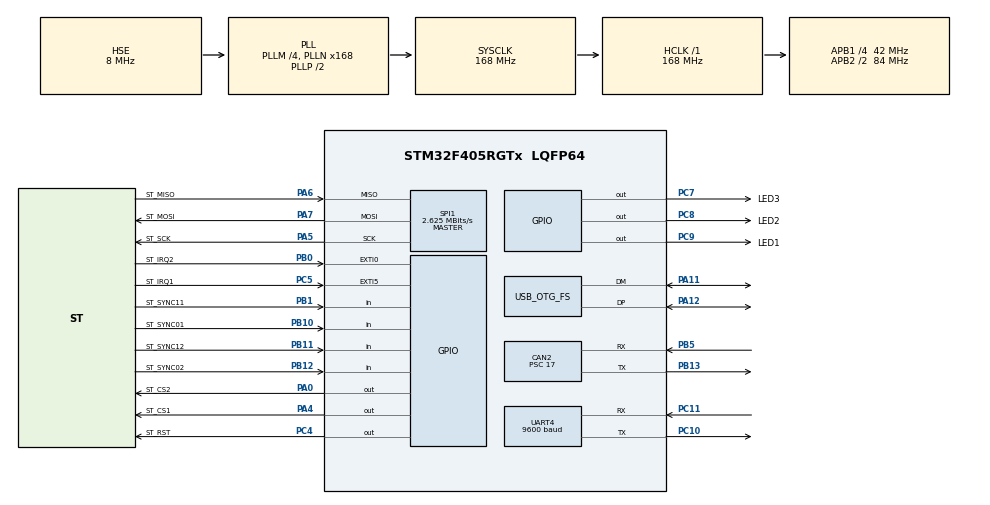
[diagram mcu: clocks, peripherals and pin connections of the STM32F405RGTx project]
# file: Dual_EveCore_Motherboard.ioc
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CAN2.ABOM=ENABLE
CAN2.AWUM=ENABLE
CAN2.BS1=CAN_BS1_5TQ
CAN2.BS2=CAN_BS2_4TQ
CAN2.CalculateBaudRate=247058
CAN2.CalculateTimeBit=4047
CAN2.CalculateTimeQuantum=404.76190476190476
CAN2.Mode=CAN_MODE_SILENT_LOOPBACK
CAN2.NART=ENABLE
CAN2.Prescaler=17
CAN2.SJW=CAN_SJW_2TQ
Mcu.Family=STM32F4
Mcu.Name=STM32F405RGTx
Mcu.Package=LQFP64
NVIC.CAN2_RX0_IRQn=true\:0\:0\:false\:false\:true\:true\:true\:true
NVIC.CAN2_RX1_IRQn=true\:0\:0\:false\:false\:true\:true\:true\:true
NVIC.CAN2_SCE_IRQn=true\:0\:0\:false\:false\:true\:true\:true\:true
NVIC.CAN2_TX_IRQn=true\:0\:0\:false\:false\:true\:true\:true\:true
NVIC.EXTI0_IRQn=true\:0\:0\:false\:false\:true\:true\:true\:true
NVIC.EXTI9_5_IRQn=true\:0\:0\:false\:false\:true\:true\:true\:true
NVIC.FLASH_IRQn=true\:0\:0\:false\:false\:true\:true\:true\:true
NVIC.FPU_IRQn=true\:0\:0\:false\:false\:true\:true\:false\:true
NVIC.OTG_FS_IRQn=true\:0\:0\:false\:false\:true\:false\:true\:true
NVIC.PVD_IRQn=true\:0\:0\:false\:false\:true\:true\:true\:true
NVIC.PriorityGroup=NVIC_PRIORITYGROUP_4
NVIC.RCC_IRQn=true\:0\:0\:false\:false\:true\:true\:false\:true
NVIC.SPI1_IRQn=true\:0\:0\:false\:false\:true\:true\:true\:true
NVIC.TIM2_IRQn=true\:0\:0\:false\:false\:true\:true\:true\:true
NVIC.UART4_IRQn=true\:0\:0\:false\:false\:true\:true\:true\:true
PA0-WKUP.GPIO_Label=ST_CS2
PA0-WKUP.GPIO_Speed=GPIO_SPEED_FREQ_VERY_HIGH
PA0-WKUP.PinState=GPIO_PIN_SET
PA0-WKUP.Signal=GPIO_Output
PA11.Mode=Device_Only
PA11.Signal=USB_OTG_FS_DM
PA12.Mode=Device_Only
PA12.Signal=USB_OTG_FS_DP
PA13.Mode=Serial_Wire
PA13.Signal=SYS_JTMS-SWDIO
PA14.Mode=Serial_Wire
PA14.Signal=SYS_JTCK-SWCLK
PA4.GPIO_Label=ST_CS1
PA4.GPIO_Speed=GPIO_SPEED_FREQ_VERY_HIGH
PA4.PinState=GPIO_PIN_SET
PA4.Signal=GPIO_Output
PA5.GPIO_Label=ST_SCK
PA5.Mode=Full_Duplex_Master
PA5.Signal=SPI1_SCK
PA6.GPIO_Label=ST_MISO
PA6.Mode=Full_Duplex_Master
PA6.Signal=SPI1_MISO
PA7.GPIO_Label=ST_MOSI
PA7.Mode=Full_Duplex_Master
PA7.Signal=SPI1_MOSI
PB0.GPIO_Label=ST_IRQ2
PB0.GPIO_ModeDefaultEXTI=GPIO_MODE_IT_RISING_FALLING
PB0.Signal=GPXTI0
PB1.GPIO_Label=ST_SYNC11
PB1.Signal=GPIO_Input
PB10.GPIO_Label=ST_SYNC01
PB10.Signal=GPIO_Input
PB11.GPIO_Label=ST_SYNC12
PB11.Signal=GPIO_Input
PB12.GPIO_Label=ST_SYNC02
PB12.Signal=GPIO_Input
PB13.Mode=CAN_Activate
PB13.Signal=CAN2_TX
PB3.Signal=SYS_JTDO-SWO
PB5.GPIO_PuPd=GPIO_NOPULL
PB5.Mode=CAN_Activate
PB5.Signal=CAN2_RX
PC10.Mode=Asynchronous
PC10.Signal=UART4_TX
PC11.GPIO_PuPd=GPIO_PULLUP
PC11.GPIO_Speed=GPIO_SPEED_FREQ_VERY_HIGH
PC11.Mode=Asynchronous
PC11.Signal=UART4_RX
PC14-OSC32_IN.Mode=LSE-External-Oscillator
PC14-OSC32_IN.Signal=RCC_OSC32_IN
PC15-OSC32_OUT.Mode=LSE-External-Oscillator
PC15-OSC32_OUT.Signal=RCC_OSC32_OUT
PC4.GPIO_Label=ST_RST
PC4.GPIO_Speed=GPIO_SPEED_FREQ_MEDIUM
PC4.PinState=GPIO_PIN_SET
PC4.Signal=GPIO_Output
PC5.GPIO_Label=ST_IRQ1
PC5.GPIO_ModeDefaultEXTI=GPIO_MODE_IT_RISING_FALLING
PC5.Signal=GPXTI5
PC7.GPIO_Label=LED3
PC7.Signal=GPIO_Output
PC8.GPIO_Label=LED2
PC8.Signal=GPIO_Output
PC9.GPIO_Label=LED1
PC9.Signal=GPIO_Output
PH0-OSC_IN.Mode=HSE-External-Oscillator
PH0-OSC_IN.Signal=RCC_OSC_IN
PH1-OSC_OUT.Mode=HSE-External-Oscillator
PH1-OSC_OUT.Signal=RCC_OSC_OUT
ProjectManager.HeapSize=0x200
ProjectManager.StackSize=0x400
ProjectManager.TargetToolchain=STM32CubeIDE
RCC.48MHZClocksFreq_Value=48000000
RCC.AHBFreq_Value=168000000
RCC.APB1CLKDivider=RCC_HCLK_DIV4
RCC.APB1Freq_Value=42000000
RCC.APB1TimFreq_Value=84000000
RCC.APB2CLKDivider=RCC_HCLK_DIV2
RCC.APB2Freq_Value=84000000
RCC.APB2TimFreq_Value=168000000
RCC.CortexFreq_Value=168000000
RCC.HCLKFreq_Value=168000000
RCC.HSE_VALUE=8000000
RCC.HSI_VALUE=16000000
RCC.PLLM=4
RCC.PLLN=168
RCC.PLLQ=7
RCC.SYSCLKFreq_VALUE=168000000
RCC.SYSCLKSource=RCC_SYSCLKSOURCE_PLLCLK
RCC.VCOOutputFreq_Value=336000000
SPI1.BaudRatePrescaler=SPI_BAUDRATEPRESCALER_32
SPI1.CLKPolarity=SPI_POLARITY_HIGH
SPI1.CalculateBaudRate=2.625 MBits/s
SPI1.DataSize=SPI_DATASIZE_16BIT
SPI1.Direction=SPI_DIRECTION_2LINES
SPI1.Mode=SPI_MODE_MASTER
SPI1.VirtualType=VM_MASTER
TIM2.AutoReloadPreload=TIM_AUTORELOAD_PRELOAD_ENABLE
TIM2.Channel-Output\ Compare1\ No\ Output=TIM_CHANNEL_1
TIM2.Period=10
TIM2.Prescaler=10000
UART4.BaudRate=9600
UART4.Parity=PARITY_EVEN
UART4.VirtualMode=Asynchronous
UART4.WordLength=WORDLENGTH_9B
USB_DEVICE.CLASS_NAME_FS=CDC
USB_DEVICE.VirtualMode-CDC_FS=Cdc
USB_DEVICE.VirtualModeFS=Cdc_FS
USB_OTG_FS.Sof_enable=ENABLE
USB_OTG_FS.VirtualMode=Device_Only
VP_TIM2_VS_ClockSourceINT.Mode=Internal
VP_TIM2_VS_no_output1.Mode=Output Compare1 No Output
VP_USB_DEVICE_VS_USB_DEVICE_CDC_FS.Mode=CDC_FS
board=custom

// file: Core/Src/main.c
/* USER CODE BEGIN Header */
/**
  ******************************************************************************
  * @file           : main.c
  * @brief          : Main program body
  ******************************************************************************
  * @attention
  *
  * Copyright (c) 2025 STMicroelectronics.
  * All rights reserved.
  *
  * This software is licensed under terms that can be found in the LICENSE file
  * in the root directory of this software component.
  * If no LICENSE file comes with this software, it is provided AS-IS.
  *
  ******************************************************************************
  */
/* USER CODE END Header */
#include "main.h"
#include "usb_device.h"

CAN_HandleTypeDef hcan2;

SPI_HandleTypeDef hspi1;

TIM_HandleTypeDef htim2;

UART_HandleTypeDef huart4;

void SystemClock_Config(void);
static void MX_GPIO_Init(void);
static void MX_SPI1_Init(void);
static void MX_UART4_Init(void);
static void MX_TIM2_Init(void);
static void MX_CAN2_Init(void);

/* USER CODE BEGIN 0 */

CAN_TxHeaderTypeDef   TxHeader;
CAN_RxHeaderTypeDef   RxHeader;
uint8_t               TxData[8];
uint8_t               RxData[8];
uint32_t              TxMailbox;

uint8_t rx_buff[30];
uint8_t  firmwareMainMsg[40] = "STM32-EvCore Firmware Test4 :\n";
uint8_t tx_buff[30] = "RS232 Loop Back Test OK !\n";

uint16_t SPI_TX_Buffer[3] = {1234,5678,9012};
uint16_t SPI_RX_Buffer[4] = {0};

int newData = 0;

int timer = 0;
int timer1 = 10;
int timer2 = 20;
int timer3 = 30;
int timer4 = 40;

/* USER CODE END 0 */

int main(void)
{

  /* MCU Configuration--------------------------------------------------------*/

  /* Reset of all peripherals, Initializes the Flash interface and the Systick. */
  HAL_Init();

  /* Configure the system clock */
  SystemClock_Config();

  /* Initialize all configured peripherals */
  MX_GPIO_Init();
  MX_SPI1_Init();
  MX_USB_DEVICE_Init();
  MX_UART4_Init();
  MX_TIM2_Init();
  MX_CAN2_Init();
  /* USER CODE BEGIN 2 */

  TxData[0] = 50;
  TxData[1] = 0xAA;

  HAL_TIM_OC_Start_IT(&htim2,TIM_CHANNEL_1);

  TxHeader.IDE = CAN_ID_STD;
  TxHeader.StdId = 0x10;
  TxHeader.RTR = CAN_RTR_DATA;
  TxHeader.DLC = 2;

  /* USER CODE END 2 */

  /* Infinite loop */
  /* USER CODE BEGIN WHILE */

  while (1)
  {

   	if(timer1 >= 1000){

   		timer1 = 0;
   		HAL_GPIO_TogglePin(LED1_GPIO_Port,LED1_Pin); //Toggle LED
   		HAL_UART_Transmit_IT(&huart4, tx_buff, 28);
   	    HAL_UART_Receive_IT(&huart4, rx_buff, 1);

   	}

   	if(timer2 >= 1200){

   		timer2 = 0;

   		HAL_SPI_TransmitReceive_IT(&hspi1, SPI_TX_Buffer, SPI_RX_Buffer, 3); //Sending in Interrupt mode
   	}

   	if(timer3 >= 1400){

   		timer3 = 0;

   	   /* Start the Transmission process */
   	   if (HAL_CAN_AddTxMessage(&hcan2, &TxHeader, TxData, &TxMailbox) != HAL_OK)
   	    {
   	    	/* Transmission request Error */
   	          Error_Handler();
   	    }

   	}

   	if(timer4 >= 1600){

   		timer4 = 0;

   		CDC_Transmit_FS(firmwareMainMsg,34);
   	}

  }
    /* USER CODE END WHILE */

}

void SystemClock_Config(void)
{
  RCC_OscInitTypeDef RCC_OscInitStruct = {0};
  RCC_ClkInitTypeDef RCC_ClkInitStruct = {0};

  /** Configure the main internal regulator output voltage
  */
  __HAL_RCC_PWR_CLK_ENABLE();
  __HAL_PWR_VOLTAGESCALING_CONFIG(PWR_REGULATOR_VOLTAGE_SCALE1);

  /** Initializes the RCC Oscillators according to the specified parameters
  * in the RCC_OscInitTypeDef structure.
  */
  RCC_OscInitStruct.OscillatorType = RCC_OSCILLATORTYPE_HSE;
  RCC_OscInitStruct.HSEState = RCC_HSE_ON;
  RCC_OscInitStruct.PLL.PLLState = RCC_PLL_ON;
  RCC_OscInitStruct.PLL.PLLSource = RCC_PLLSOURCE_HSE;
  RCC_OscInitStruct.PLL.PLLM = 4;
  RCC_OscInitStruct.PLL.PLLN = 168;
  RCC_OscInitStruct.PLL.PLLP = RCC_PLLP_DIV2;
  RCC_OscInitStruct.PLL.PLLQ = 7;
  if (HAL_RCC_OscConfig(&RCC_OscInitStruct) != HAL_OK)
  {
    Error_Handler();
  }

  /** Initializes the CPU, AHB and APB buses clocks
  */
  RCC_ClkInitStruct.ClockType = RCC_CLOCKTYPE_HCLK|RCC_CLOCKTYPE_SYSCLK
                              |RCC_CLOCKTYPE_PCLK1|RCC_CLOCKTYPE_PCLK2;
  RCC_ClkInitStruct.SYSCLKSource = RCC_SYSCLKSOURCE_PLLCLK;
  RCC_ClkInitStruct.AHBCLKDivider = RCC_SYSCLK_DIV1;
  RCC_ClkInitStruct.APB1CLKDivider = RCC_HCLK_DIV4;
  RCC_ClkInitStruct.APB2CLKDivider = RCC_HCLK_DIV2;

  if (HAL_RCC_ClockConfig(&RCC_ClkInitStruct, FLASH_LATENCY_5) != HAL_OK)
  {
    Error_Handler();
  }
}

static void MX_CAN2_Init(void)
{

  /* USER CODE BEGIN CAN2_Init 1 */

  CAN_FilterTypeDef  sFilterConfig;

  /* USER CODE END CAN2_Init 1 */
  hcan2.Instance = CAN2;
  hcan2.Init.Prescaler = 17;
  hcan2.Init.Mode = CAN_MODE_SILENT_LOOPBACK;
  hcan2.Init.SyncJumpWidth = CAN_SJW_2TQ;
  hcan2.Init.TimeSeg1 = CAN_BS1_5TQ;
  hcan2.Init.TimeSeg2 = CAN_BS2_4TQ;
  hcan2.Init.TimeTriggeredMode = DISABLE;
  hcan2.Init.AutoBusOff = ENABLE;
  hcan2.Init.AutoWakeUp = ENABLE;
  hcan2.Init.AutoRetransmission = ENABLE;
  hcan2.Init.ReceiveFifoLocked = DISABLE;
  hcan2.Init.TransmitFifoPriority = DISABLE;

  if (HAL_CAN_Init(&hcan2) != HAL_OK)
  {
    Error_Handler();
  }
  /* USER CODE BEGIN CAN2_Init 2 */

  /*##-3- Start the CAN peripheral ###########################################*/
 if (HAL_CAN_Start(&hcan2) != HAL_OK)
 {
    /* Start Error */
    Error_Handler();
 }

  /*##-4- Activate CAN RX notification #######################################*/
 if (HAL_CAN_ActivateNotification(&hcan2, CAN_IT_RX_FIFO0_MSG_PENDING) != HAL_OK)
 {
    /* Notification Error */
   Error_Handler();
 }

  /* USER CODE END CAN2_Init 2 */

}

static void MX_SPI1_Init(void)
{

  /* SPI1 parameter configuration*/
  hspi1.Instance = SPI1;
  hspi1.Init.Mode = SPI_MODE_MASTER;
  hspi1.Init.Direction = SPI_DIRECTION_2LINES;
  hspi1.Init.DataSize = SPI_DATASIZE_16BIT;
  hspi1.Init.CLKPolarity = SPI_POLARITY_HIGH;
  hspi1.Init.CLKPhase = SPI_PHASE_1EDGE;
  hspi1.Init.NSS = SPI_NSS_SOFT;
  hspi1.Init.BaudRatePrescaler = SPI_BAUDRATEPRESCALER_32;
  hspi1.Init.FirstBit = SPI_FIRSTBIT_MSB;
  hspi1.Init.TIMode = SPI_TIMODE_DISABLE;
  hspi1.Init.CRCCalculation = SPI_CRCCALCULATION_DISABLE;
  hspi1.Init.CRCPolynomial = 10;
  if (HAL_SPI_Init(&hspi1) != HAL_OK)
  {
    Error_Handler();
  }

}

static void MX_TIM2_Init(void)
{

  TIM_ClockConfigTypeDef sClockSourceConfig = {0};
  TIM_MasterConfigTypeDef sMasterConfig = {0};
  TIM_OC_InitTypeDef sConfigOC = {0};

  htim2.Instance = TIM2;
  htim2.Init.Prescaler = 10000;
  htim2.Init.CounterMode = TIM_COUNTERMODE_UP;
  htim2.Init.Period = 10;
  htim2.Init.ClockDivision = TIM_CLOCKDIVISION_DIV1;
  htim2.Init.AutoReloadPreload = TIM_AUTORELOAD_PRELOAD_ENABLE;
  if (HAL_TIM_Base_Init(&htim2) != HAL_OK)
  {
    Error_Handler();
  }
  sClockSourceConfig.ClockSource = TIM_CLOCKSOURCE_INTERNAL;
  if (HAL_TIM_ConfigClockSource(&htim2, &sClockSourceConfig) != HAL_OK)
  {
    Error_Handler();
  }
  if (HAL_TIM_OC_Init(&htim2) != HAL_OK)
  {
    Error_Handler();
  }
  sMasterConfig.MasterOutputTrigger = TIM_TRGO_RESET;
  sMasterConfig.MasterSlaveMode = TIM_MASTERSLAVEMODE_DISABLE;
  if (HAL_TIMEx_MasterConfigSynchronization(&htim2, &sMasterConfig) != HAL_OK)
  {
    Error_Handler();
  }
  sConfigOC.OCMode = TIM_OCMODE_TIMING;
  sConfigOC.Pulse = 0;
  sConfigOC.OCPolarity = TIM_OCPOLARITY_HIGH;
  sConfigOC.OCFastMode = TIM_OCFAST_DISABLE;
  if (HAL_TIM_OC_ConfigChannel(&htim2, &sConfigOC, TIM_CHANNEL_1) != HAL_OK)
  {
    Error_Handler();
  }

}

static void MX_UART4_Init(void)
{

  huart4.Instance = UART4;
  huart4.Init.BaudRate = 9600;
  huart4.Init.WordLength = UART_WORDLENGTH_9B;
  huart4.Init.StopBits = UART_STOPBITS_1;
  huart4.Init.Parity = UART_PARITY_EVEN;
  huart4.Init.Mode = UART_MODE_TX_RX;
  huart4.Init.HwFlowCtl = UART_HWCONTROL_NONE;
  huart4.Init.OverSampling = UART_OVERSAMPLING_16;
  if (HAL_UART_Init(&huart4) != HAL_OK)
  {
    Error_Handler();
  }

}

static void MX_GPIO_Init(void)
{
  GPIO_InitTypeDef GPIO_InitStruct = {0};

  /* GPIO Ports Clock Enable */
  __HAL_RCC_GPIOC_CLK_ENABLE();
  __HAL_RCC_GPIOH_CLK_ENABLE();
  __HAL_RCC_GPIOA_CLK_ENABLE();
  __HAL_RCC_GPIOB_CLK_ENABLE();

  /*Configure GPIO pin Output Level */
  HAL_GPIO_WritePin(GPIOA, ST_CS2_Pin|ST_CS1_Pin, GPIO_PIN_SET);

  /*Configure GPIO pin Output Level */
  HAL_GPIO_WritePin(ST_RST_GPIO_Port, ST_RST_Pin, GPIO_PIN_SET);

  /*Configure GPIO pin Output Level */
  HAL_GPIO_WritePin(GPIOC, LED3_Pin|LED2_Pin|LED1_Pin, GPIO_PIN_RESET);

  /*Configure GPIO pins : ST_CS2_Pin ST_CS1_Pin */
  GPIO_InitStruct.Pin = ST_CS2_Pin|ST_CS1_Pin;
  GPIO_InitStruct.Mode = GPIO_MODE_OUTPUT_PP;
  GPIO_InitStruct.Pull = GPIO_NOPULL;
  GPIO_InitStruct.Speed = GPIO_SPEED_FREQ_VERY_HIGH;
  HAL_GPIO_Init(GPIOA, &GPIO_InitStruct);

  /*Configure GPIO pin : ST_RST_Pin */
  GPIO_InitStruct.Pin = ST_RST_Pin;
  GPIO_InitStruct.Mode = GPIO_MODE_OUTPUT_PP;
  GPIO_InitStruct.Pull = GPIO_NOPULL;
  GPIO_InitStruct.Speed = GPIO_SPEED_FREQ_MEDIUM;
  HAL_GPIO_Init(ST_RST_GPIO_Port, &GPIO_InitStruct);

  /*Configure GPIO pin : ST_IRQ1_Pin */
  GPIO_InitStruct.Pin = ST_IRQ1_Pin;
  GPIO_InitStruct.Mode = GPIO_MODE_IT_RISING_FALLING;
  GPIO_InitStruct.Pull = GPIO_NOPULL;
  HAL_GPIO_Init(ST_IRQ1_GPIO_Port, &GPIO_InitStruct);

  /*Configure GPIO pin : ST_IRQ2_Pin */
  GPIO_InitStruct.Pin = ST_IRQ2_Pin;
  GPIO_InitStruct.Mode = GPIO_MODE_IT_RISING_FALLING;
  GPIO_InitStruct.Pull = GPIO_NOPULL;
  HAL_GPIO_Init(ST_IRQ2_GPIO_Port, &GPIO_InitStruct);

  /*Configure GPIO pins : ST_SYNC11_Pin ST_SYNC01_Pin ST_SYNC12_Pin ST_SYNC02_Pin */
  GPIO_InitStruct.Pin = ST_SYNC11_Pin|ST_SYNC01_Pin|ST_SYNC12_Pin|ST_SYNC02_Pin;
  GPIO_InitStruct.Mode = GPIO_MODE_INPUT;
  GPIO_InitStruct.Pull = GPIO_NOPULL;
  HAL_GPIO_Init(GPIOB, &GPIO_InitStruct);

  /*Configure GPIO pins : LED3_Pin LED2_Pin LED1_Pin */
  GPIO_InitStruct.Pin = LED3_Pin|LED2_Pin|LED1_Pin;
  GPIO_InitStruct.Mode = GPIO_MODE_OUTPUT_PP;
  GPIO_InitStruct.Pull = GPIO_NOPULL;
  GPIO_InitStruct.Speed = GPIO_SPEED_FREQ_LOW;
  HAL_GPIO_Init(GPIOC, &GPIO_InitStruct);

  /* EXTI interrupt init*/
  HAL_NVIC_SetPriority(EXTI0_IRQn, 0, 0);
  HAL_NVIC_EnableIRQ(EXTI0_IRQn);

  HAL_NVIC_SetPriority(EXTI9_5_IRQn, 0, 0);
  HAL_NVIC_EnableIRQ(EXTI9_5_IRQn);

}

/* USER CODE BEGIN 4 */

void USB_CDC_RxHandler(uint8_t* Buf, uint32_t Len)
{
    // when usb data receive do....
}

void HAL_SPI_TxRxCpltCallback(SPI_HandleTypeDef *hspi)
{
  	newData = 1;

    if (hspi == &hspi1) {

    	char msg[100] = {0};

        sprintf(msg, "New SPI Data Received: %d: %d: %d\n", SPI_RX_Buffer[0] , SPI_RX_Buffer[1] , SPI_RX_Buffer[2] );
        CDC_Transmit_FS(msg, strlen(msg));

    }

}

void HAL_UART_RxCpltCallback(UART_HandleTypeDef *huart){

  if (huart == &huart4) {
    // Enable reception for the next character
    HAL_UART_Receive_IT(&huart4, rx_buff, 1);
    CDC_Transmit_FS(rx_buff,1);

  }
}

void HAL_TIM_OC_DelayElapsedCallback(TIM_HandleTypeDef *htim)
{
    if (htim->Instance == TIM2 && htim->Channel == HAL_TIM_ACTIVE_CHANNEL_1)
    {
    	timer++;
    	timer1++;
    	timer2++;
    	timer3++;
    	timer4++;

     }
}

/**
  * @brief  Transmission  complete callback in non blocking mode
  * @param  CanHandle: pointer to a CAN_HandleTypeDef structure that contains
  *         the configuration information for the specified CAN.
  * @retval None
  */
/**
  * @brief  Rx Fifo 0 message pending callback
  * @param  hcan: pointer to a CAN_HandleTypeDef structure that contains
  *         the configuration information for the specified CAN.
  * @retval None
  */

void HAL_CAN_RxFifo0MsgPendingCallback(CAN_HandleTypeDef *hcan)
{
  if (HAL_CAN_GetRxMessage(hcan, CAN_RX_FIFO0, &RxHeader, RxData) != HAL_OK)
  {
    Error_Handler();

  }
	else{

		char msg[200] = {0};

		sprintf(msg, "New CAN Message Received\n ID: %d\n SIZE: %d\n Value: %d\n", RxHeader.StdId , RxHeader.DLC , RxData[0] );
		CDC_Transmit_FS(msg, strlen(msg));

	}

  if ((RxHeader.StdId == 0x103))
  {
	  //////////////////////////////////////
  }
  /* Display LEDx */
   if ((RxHeader.StdId == 0x321) && (RxHeader.IDE == CAN_ID_STD) && (RxHeader.DLC == 2))
   {

   }
}

/* USER CODE END 4 */

void Error_Handler(void)
{
  __disable_irq();
  while (1)
  {
  }
}
